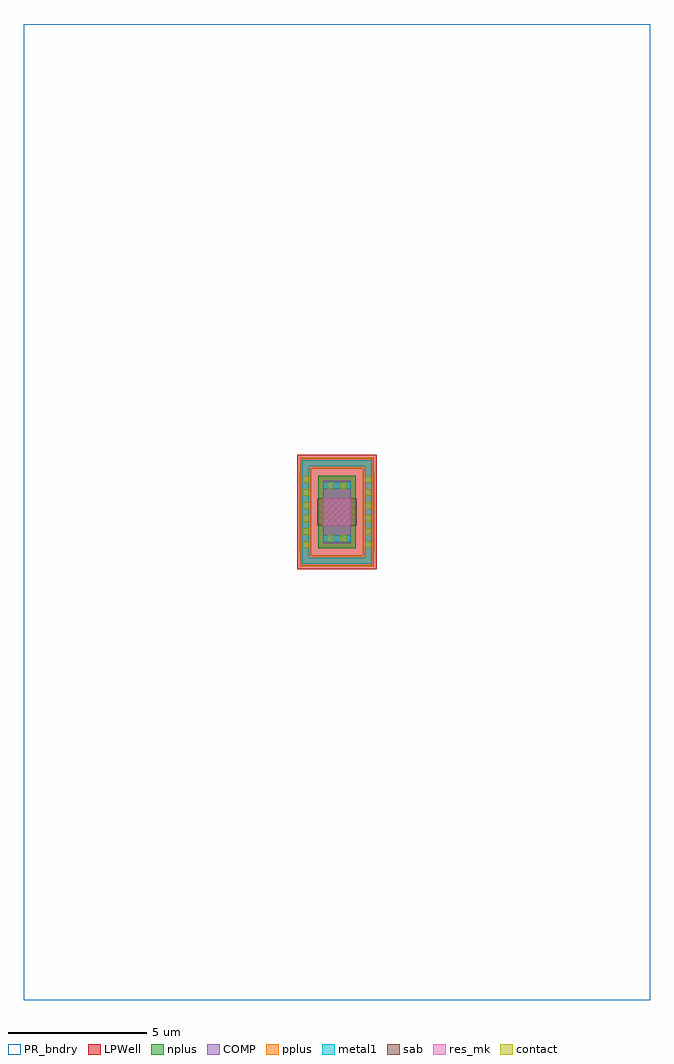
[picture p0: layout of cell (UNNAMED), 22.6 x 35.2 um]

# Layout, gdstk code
import gdstk
lib = gdstk.Library(unit=1e-6, precision=1e-09)
def R(c, l, rs):  # rectangles x0, y0, x1, y1
    for r in rs: c.add(gdstk.rectangle(r[:2], r[2:], *l))
def A(c, l, x, y, w, h, nx, ny, dx, dy):  # array of equal rectangles
    R(c, l, [(x+i*dx, y+j*dy, x+i*dx+w, y+j*dy+h) for i in range(nx) for j in range(ny)])
PR_bndry = (0, 0)
COMP = (22, 0)
pplus = (31, 0)
nplus = (32, 0)
contact = (33, 0)
metal1 = (34, 0)
sab = (49, 0)
res_mk = (110, 5)
LPWell = (204, 0)

c__unnamed_ = lib.new_cell('(UNNAMED)')
R(c__unnamed_, PR_bndry, [(-11.3,-17.6,11.3,17.6)])
R(c__unnamed_, COMP, [(-1.31,-1.94,1.31,-1.58), (-1.31,-1.58,-0.95,1.58), (0.95,-1.58,1.31,1.58), (-0.5,-1.13,0.5,1.13), (-1.31,1.58,1.31,1.94)])
R(c__unnamed_, pplus, [(-1.33,-1.96,1.33,-1.56), (-1.33,-1.56,-0.92,-1.455), (0.92,-1.56,1.33,-1.455), (-1.34,-1.455,-0.92,1.455), (0.92,-1.455,1.34,1.455), (-1.33,1.455,-0.92,1.56), (0.92,1.455,1.33,1.56), (-1.33,1.56,1.33,1.96)])
R(c__unnamed_, nplus, [(-0.68,-1.31,0.68,1.31), (-0.66,-1.29,0.66,1.29)])
A(c__unnamed_, contact, -1.24, -1.285, 0.22, 0.22, 1, 6, 0, 0.47)
A(c__unnamed_, contact, 1.02, -1.285, 0.22, 0.22, 1, 6, 0, 0.47)
R(c__unnamed_, contact, [(-0.345,-1.06,-0.125,-0.84), (0.125,-1.06,0.345,-0.84), (-0.345,0.84,-0.125,1.06), (0.125,0.84,0.345,1.06)])
R(c__unnamed_, metal1, [(-1.245,-1.875,1.245,-1.645), (-1.245,-1.645,-1.015,1.645), (1.015,-1.645,1.245,1.645), (-0.49,-1.065,0.49,-0.835), (-0.49,0.835,0.49,1.065), (-1.245,1.645,1.245,1.875)])
R(c__unnamed_, sab, [(-0.72,-0.5,0.72,0.5)])
R(c__unnamed_, res_mk, [(-0.5,-0.5,0.5,0.5)])
R(c__unnamed_, LPWell, [(-1.43,-2.06,1.43,2.06)])

lib.write_gds('_UNNAMED_.gds')
